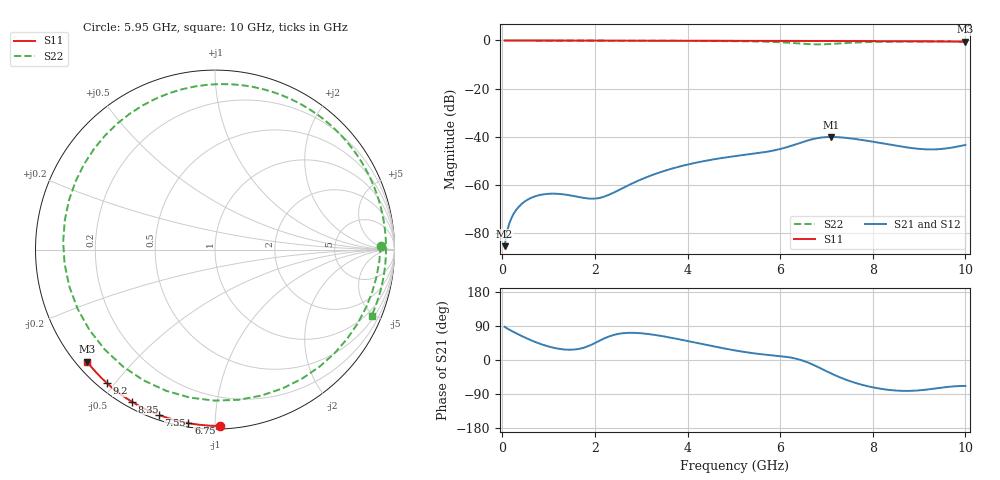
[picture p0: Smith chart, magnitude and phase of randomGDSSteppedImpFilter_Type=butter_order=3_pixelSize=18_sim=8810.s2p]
! freq	dB(S11)	phase(S11)	dB(S12)	phase(S12)
!  dB(S21)	phase(S21)	dB(S22)	phase(S22)
!S-par simulation data
#  GHz  S  DB  R 50
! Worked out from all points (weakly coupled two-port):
!   200 points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, 50 MHz to 10 GHz, reference 50 ohm
!   highest |S21| = -40.09 dB at 7.1 GHz (marker M1); lowest = -85.5 dB at 50 MHz (marker M2)
!   lowest |S11| = -0.5 dB at 10 GHz (marker M3), VSWR 36.96, Z = 1.54 - j18.8 ohm
!   |S11| at or under -10 dB: nowhere
!   |S22| runs from -1.6 to 0.0 dB; largest |S21 - S12| = 0
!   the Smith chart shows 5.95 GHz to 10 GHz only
!   S11 on the Smith chart (normalised r, x): 5.95 GHz: 0.02, -1.03; 6.75 GHz: 0.02, -0.86; 7.55 GHz: 0.02, -0.72; 8.35 GHz: 0.02, -0.59; 9.2 GHz: 0.03, -0.48; 10 GHz: 0.03, -0.38
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0.05  -0.00 -0.8  -85.46 87.7  -85.46 87.7  -0.00 -5.9
0.35  -0.01 -5.6  -69.22 67.4  -69.22 67.4  -0.05 -40.1
0.75  -0.02 -12.0  -64.50 45.7  -64.50 45.7  -0.09 -80.1
1.25  -0.03 -19.9  -63.78 29.1  -63.78 29.1  -0.11 -119.1
1.75  -0.04 -27.7  -65.38 32.1  -65.38 32.1  -0.11 -148.9
2.5  -0.05 -39.2  -62.30 68.8  -62.30 68.8  -0.12 176.0
3.4  -0.07 -52.7  -54.81 64.1  -54.81 64.1  -0.14 139.7
4.3  -0.09 -65.7  -50.32 42.6  -50.32 42.6  -0.20 103.0
5.05  -0.12 -76.1  -47.99 24.8  -47.99 24.8  -0.29 66.8
5.5  -0.13 -82.3  -46.86 16.6  -46.86 16.6  -0.42 39.1
5.95  -0.15 -88.3  -45.33 10.9  -45.33 10.9  -0.70 1.4
6.3  -0.17 -92.9  -43.40 4.7  -43.40 4.7  -1.09 -40.9
6.5  -0.18 -95.5  -42.12 -2.1  -42.12 -2.1  -1.38 -72.5
6.7  -0.19 -98.1  -41.01 -11.9  -41.01 -11.9  -1.59 -109.1
6.75  -0.19 -98.7  -40.79 -14.7  -40.79 -14.7  -1.62 -118.7
6.95  -0.20 -101.3  -40.21 -26.6  -40.21 -26.6  -1.58 -156.7
7.1  -0.21 -103.2  -40.09 -35.5  -40.09 -35.5  -1.44 177.0
7.55  -0.24 -108.8  -40.75 -57.5  -40.75 -57.5  -0.93 116.6
7.9  -0.27 -113.2  -41.74 -69.5  -41.74 -69.5  -0.67 84.4
8.35  -0.30 -118.7  -43.20 -79.0  -43.20 -79.0  -0.50 53.4
9.2  -0.38 -129.1  -45.26 -77.5  -45.26 -77.5  -0.41 9.8
10  -0.47 -138.8  -43.41 -68.4  -43.41 -68.4  -0.47 -22.8
